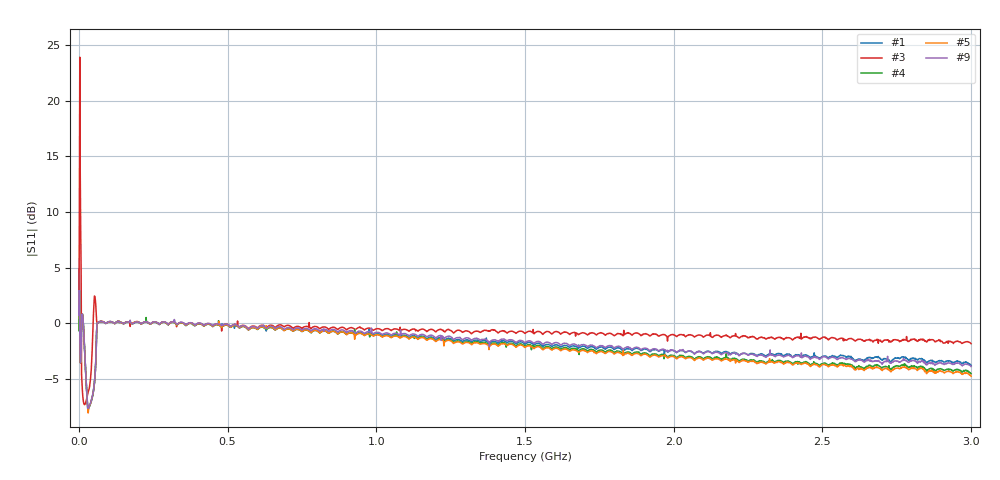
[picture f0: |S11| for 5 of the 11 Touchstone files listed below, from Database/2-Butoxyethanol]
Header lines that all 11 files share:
# HZ S RI R 50
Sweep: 10 kHz to 3 GHz
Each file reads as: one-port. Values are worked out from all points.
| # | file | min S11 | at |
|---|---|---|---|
| 1 | 10%.s1p | -7.8 dB | 31.21 MHz |
| 2 | 20%.s1p | -7.8 dB | 31.21 MHz |
| 3 | 25-propanol-75-butoxy.s1p | -7.3 dB | 19.33 MHz |
| 4 | 30%.s1p | -7.7 dB | 31.21 MHz |
| 5 | 40%.s1p | -8.1 dB | 31.21 MHz |
| 6 | 50%.s1p | -7.7 dB | 31.21 MHz |
| 7 | 60%.s1p | -7.7 dB | 31.21 MHz |
| 8 | 70%.s1p | -7.7 dB | 31.21 MHz |
| 9 | 80%.s1p | -7.6 dB | 29.73 MHz |
| 10 | 90%.s1p | -7.7 dB | 31.21 MHz |
| 11 | 100%.s1p | -7.7 dB | 31.21 MHz |
